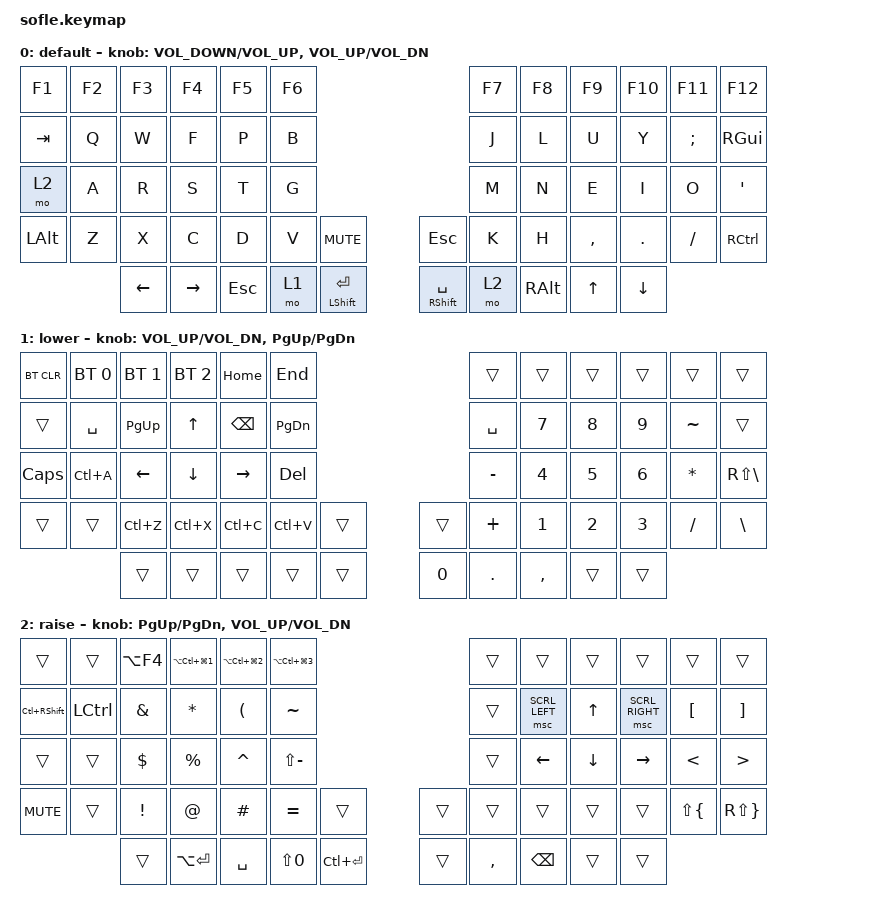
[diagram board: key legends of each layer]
/* ---- Timeless Homerow Mods (Shift only) ---- */

#define KEYS_L 0 1 2 3 4 5 6 7 8 9 10 11 12 13 14 15 16 17
#define KEYS_R 18 19 20 21 22 23 24 25 26 27 28 29 30 31 32 33 34 35
#define THUMBS 36 37 38 39

/ {
    behaviors {
        hml: homerow_mod_left {
            compatible = "zmk,behavior-hold-tap";
            label = "HRM_LEFT";
            #binding-cells = <2>;
            flavor = "balanced";
            tapping-term-ms = <280>;
            quick-tap-ms = <175>;
            require-prior-idle-ms = <120>;
            bindings = <&kp>, <&kp>;

            hold-trigger-key-positions = <KEYS_R THUMBS>;
            hold-trigger-on-release;
            retro-tap;
        };

        hmr: homerow_mod_right {
            compatible = "zmk,behavior-hold-tap";
            label = "HRM_RIGHT";
            #binding-cells = <2>;
            flavor = "balanced";
            tapping-term-ms = <280>;
            quick-tap-ms = <175>;
            require-prior-idle-ms = <120>;
            bindings = <&kp>, <&kp>;

            hold-trigger-key-positions = <KEYS_L THUMBS>;
            hold-trigger-on-release;
            retro-tap;
        };
    };
};

#include <behaviors.dtsi>
#include <dt-bindings/zmk/bt.h>
#include <dt-bindings/zmk/keys.h>
#include <dt-bindings/zmk/pointing.h>

#define BASE 0
#define LOWER 1
#define RAISE 2
#define ADJUST 3

/ {
    // Activate ADJUST layer by pressing raise and lower

    conditional_layers { compatible = "zmk,conditional-layers"; };

    combos { compatible = "zmk,combos"; };

    keymap {
        compatible = "zmk,keymap";

        default_layer {
            label = "default";

            // ------------------------------------------------------------------------------------------------------------
            // |   `   |  1  |  2  |  3   |  4   |  5   |                   |  6   |  7    |  8    |  9   |   0   |       |
            // |  ESC  |  Q  |  W  |  E   |  R   |  T   |                   |  Y   |  U    |  I    |  O   |   P   | BKSPC |
            // |  TAB  |  A  |  S  |  D   |  F   |  G   |                   |  H   |  J    |  K    |  L   |   ;   |   '   |
            // | SHIFT |  Z  |  X  |  C   |  V   |  B   |  MUTE  |  |       |  N   |  M    |  ,    |  .   |   /   | SHIFT |
            //               | GUI | ALT  | CTRL | LOWER|  ENTER |  | SPACE | RAISE| CTRL  | ALT   | GUI  |

            bindings = <
&kp F1    &kp F2  &kp F3    &kp F4     &kp F5   &kp F6                                                 &kp F7  &kp F8         &kp F9        &kp F10   &kp F11   &kp F12
&kp TAB   &kp Q   &kp W     &kp F      &kp P    &kp B                                                  &kp J   &kp L          &kp U         &kp Y     &kp SEMI  &kp RGUI
&mo 2     &kp A   &kp R     &kp S      &kp T    &kp G                                                  &kp M   &kp N          &kp E         &kp I     &kp O     &kp APOS
&kp LALT  &kp Z   &kp X     &kp C      &kp D    &kp V   &kp C_MUTE              &kp ESC                &kp K   &kp H          &kp COMMA     &kp DOT   &kp FSLH  &kp RCTRL
                  &kp LEFT  &kp RIGHT  &kp ESC  &mo 1   &mt LEFT_SHIFT ENTER    &mt RIGHT_SHIFT SPACE  &mo 2   &kp RIGHT_ALT  &kp UP_ARROW  &kp DOWN
            >;

            sensor-bindings =
                <&inc_dec_kp C_VOLUME_DOWN C_VOLUME_UP>,
                <&inc_dec_kp C_VOLUME_UP C_VOL_DN>;
        };

        lower_layer {
            label = "lower";

            // TODO: Some binds are waiting for shifted keycode support.
            // ------------------------------------------------------------------------------------------------------------
            // |       |  F1 |  F2 |  F3  |  F4  |  F5  |                   |  F6  |  F7   |  F8   |  F9  |  F10  |  F11  |
            // |   `   |  1  |  2  |  3   |  4   |  5   |                   |  6   |  7    |  8    |  9   |   0   |  F12  |
            // |       |  !  |  @  |  #   |  $   |  %   |                   |  ^   |  &    |  *    |  (   |   )   |   |   |
            // |       |  =  |  -  |  +   |  {   |  }   |        |  |       |  [   |  ]    |  ;    |  :   |   \   |       |
            //               |     |      |      |      |        |  |       |      |       |       |      |

            bindings = <
&bt BT_CLR  &bt BT_SEL 0  &bt BT_SEL 1  &bt BT_SEL 2    &kp HOME       &kp END                          &trans      &trans     &trans  &trans  &trans        &trans
&trans      &kp SPACE     &kp PAGE_UP   &kp UP_ARROW    &kp BACKSPACE  &kp PAGE_DOWN                    &kp SPACE   &kp N7     &kp N8  &kp N9  &kp TILDE     &trans
&kp CAPS    &kp LC(A)     &kp LEFT      &kp DOWN_ARROW  &kp RIGHT      &kp DELETE                       &kp MINUS   &kp N4     &kp N5  &kp N6  &kp ASTERISK  &kp RS(BACKSLASH)
&trans      &trans        &kp LC(Z)     &kp LC(X)       &kp LC(C)      &kp LC(V)      &trans    &trans  &kp PLUS    &kp N1     &kp N2  &kp N3  &kp SLASH     &kp BACKSLASH
                          &trans        &trans          &trans         &trans         &trans    &kp N0  &kp PERIOD  &kp COMMA  &trans  &trans
            >;

            sensor-bindings = <&inc_dec_kp C_VOL_UP C_VOL_DN &inc_dec_kp PG_UP PG_DN>;
        };

        raise_layer {
            label = "raise";

            // ------------------------------------------------------------------------------------------------------------
            // | BTCLR | BT1  | BT2  |  BT3  |  BT4  |  BT5 |                |      |      |       |      |       |       |
            // |       | INS  | PSCR | GUI   |       |      |                | PGUP |      |   ^   |      |       |       |
            // |       | ALT  | CTRL | SHIFT |       | CAPS |                | PGDN |   <- |   v   |  ->  |  DEL  | BKSPC |
            // |       | UNDO | CUT  | COPY  | PASTE |      |      |  |      |      |      |       |      |       |       |
            //                |      |       |       |      |      |  |      |      |      |       |      |

            bindings = <
&trans               &trans            &kp LA(F4)       &kp LA(LC(LG(NUMBER_1)))  &kp LA(LC(LG(NUMBER_2)))  &kp LA(LC(LG(NUMBER_3)))                           &trans     &trans          &trans        &trans           &trans              &trans
&kp LC(RIGHT_SHIFT)  &kp LEFT_CONTROL  &kp AMPERSAND    &kp ASTERISK              &kp LEFT_PARENTHESIS      &kp TILDE                                          &trans     &msc SCRL_LEFT  &kp UP_ARROW  &msc SCRL_RIGHT  &kp LEFT_BRACKET    &kp RIGHT_BRACKET
&trans               &trans            &kp DOLLAR       &kp PERCENT               &kp CARET                 &kp LS(MINUS)                                      &trans     &kp LEFT        &kp DOWN      &kp RIGHT        &kp LESS_THAN       &kp GREATER_THAN
&kp C_MUTE           &trans            &kp EXCLAMATION  &kp AT_SIGN               &kp HASH                  &kp EQUAL                 &trans           &trans  &trans     &trans          &trans        &trans           &kp LS(LEFT_BRACE)  &kp RS(RIGHT_BRACE)
                                       &trans           &kp LA(ENTER)             &kp SPACE                 &kp LS(N0)                &kp LC(ENTER)    &trans  &kp COMMA  &kp BACKSPACE   &trans        &trans
            >;

            sensor-bindings =
                <&inc_dec_kp PAGE_UP PAGE_DOWN>,
                <&inc_dec_kp C_VOLUME_UP C_VOL_DN>;
        };
    };
};
